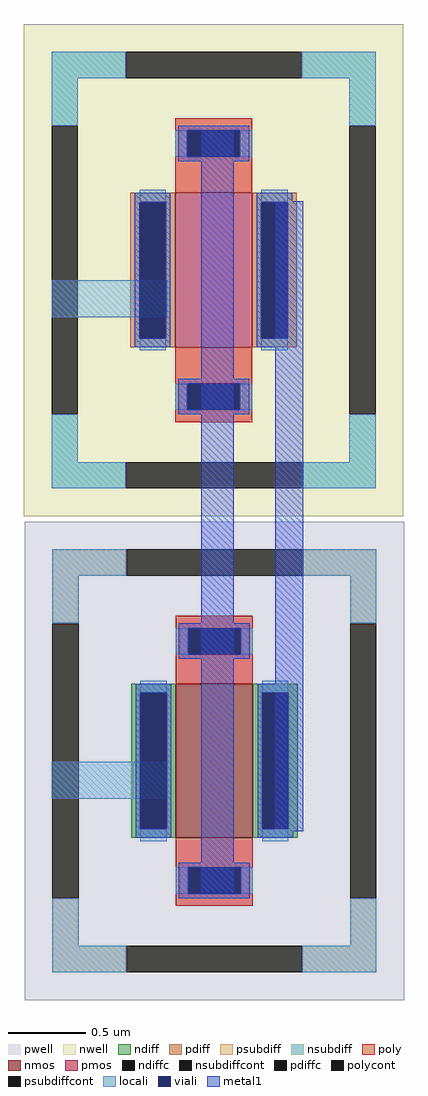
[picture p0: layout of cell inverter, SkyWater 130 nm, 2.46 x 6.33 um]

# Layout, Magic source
magic
tech sky130A
magscale 1 2
<< locali >>
rect -18 880 132 928
rect -18 256 132 304
<< metal1 >>
rect 176 134 218 1122
rect 272 214 308 1030
use sky130_fd_pr__nfet_01v8_53744R  sky130_fd_pr__nfet_01v8_53744R_0
transform 1 0 193 0 1 305
box -246 -310 246 310
use sky130_fd_pr__pfet_01v8_BH9SS5  sky130_fd_pr__pfet_01v8_BH9SS5_0
transform 1 0 192 0 1 941
box -246 -319 246 319
<< end >>

# cell sky130_fd_pr__nfet_01v8_53744R: kit device sky130_fd_pr__nfet_01v8, w 1 l 0.50 m 1 nf 1 diffcov 100 polycov 100 guard 1 glc 1 grc 1 gtc 1 gbc 1 tbcov 100 rlcov 100 topc 1 botc 1 poverlap 0 doverlap 1 lmin 0.15 wmin 0.42 compatible {sky130_fd_pr__nfet_01v8 sky130_fd_pr__nfet_01v8_lvt sky130_fd_bs_flash__special_sonosfet_star sky130_fd_pr__nfet_g5v0d10v5 sky130_fd_pr__nfet_05v0_nvt sky130_fd_pr__nfet_03v3_nvt} full_metal 1 viasrc 100 viadrn 100 viagate 100 viagb 0 viagr 0 viagl 0 viagt 0

# cell sky130_fd_pr__pfet_01v8_BH9SS5: kit device sky130_fd_pr__pfet_01v8, w 1 l 0.5 m 1 nf 1 diffcov 100 polycov 100 guard 1 glc 1 grc 1 gtc 1 gbc 1 tbcov 100 rlcov 100 topc 1 botc 1 poverlap 0 doverlap 1 lmin 0.15 wmin 0.42 compatible {sky130_fd_pr__pfet_01v8 sky130_fd_pr__pfet_01v8_lvt sky130_fd_pr__pfet_01v8_hvt sky130_fd_pr__pfet_g5v0d10v5} full_metal 1 viasrc 100 viadrn 100 viagate 100 viagb 0 viagr 0 viagl 0 viagt 0
